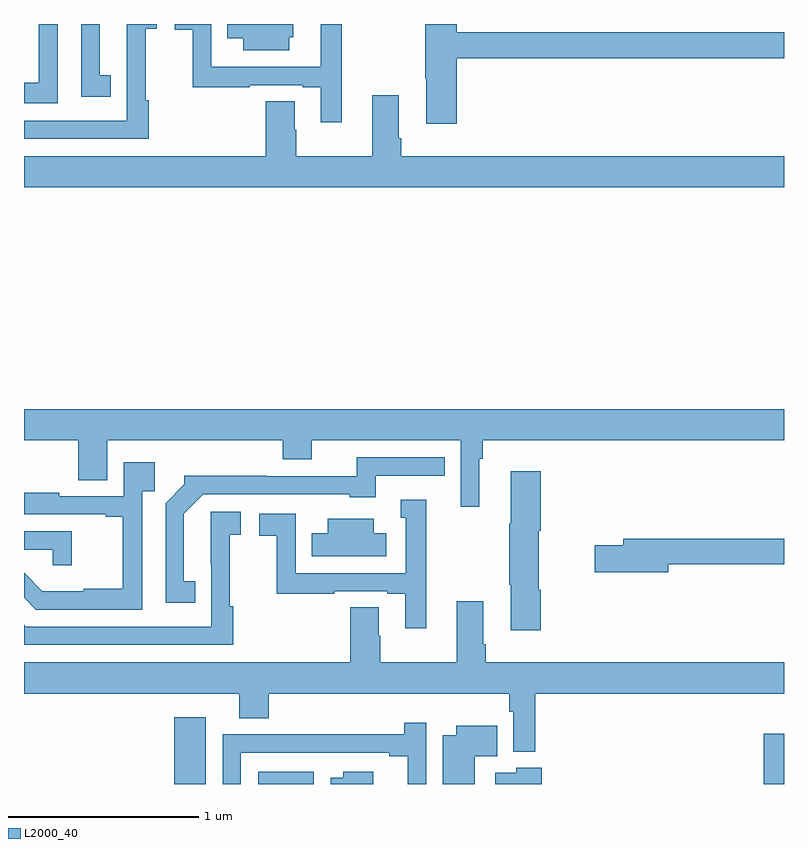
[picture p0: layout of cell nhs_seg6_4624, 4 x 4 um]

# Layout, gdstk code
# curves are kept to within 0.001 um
import gdstk
lib = gdstk.Library(unit=1e-6, precision=1e-09)
def R(c, l, rs):  # rectangles x0, y0, x1, y1
    for r in rs: c.add(gdstk.rectangle(r[:2], r[2:], *l))
def P(c, l, *ps):  # polygons
    for p in ps: c.add(gdstk.Polygon(p, *l))
L2000_40 = (2000, 40)

nhs_seg6_4624 = lib.new_cell('nhs_seg6_4624')
R(nhs_seg6_4624, L2000_40, [(383.792,973.5,383.956,973.852), (384.233,973.5,384.526,973.564), (386.893,973.5,387,973.765)])
P(nhs_seg6_4624, L2000_40, [(384.673,977.5),(384.563,977.5),(384.563,977.274),(383.986,977.274),(383.986,977.275),(383.985,977.275),(383.985,977.5),(383.793,977.5),(383.793,977.47),(383.887,977.47),(383.887,977.166),(384.188,977.166),(384.188,977.178),(384.467,977.178),(384.467,977.166),(384.563,977.166),(384.563,976.983),(384.673,976.983)],
  [(383.657,977.099),(383.64,977.099),(383.64,977.475),(383.698,977.475),(383.698,977.5),(383.54,977.5),(383.54,977.32),(383.541,977.32),(383.541,976.992),(383,976.992),(383,976.896),(383.657,976.896)],
  [(385.277,977.32),(387,977.32),(387,977.456),(385.277,977.456),(385.277,977.5),(385.111,977.5),(385.111,977.212),(385.118,977.212),(385.118,976.974),(385.277,976.974)],
  [(384.397,977.43),(384.418,977.43),(384.418,977.5),(384.07,977.5),(384.07,977.426),(384.155,977.426),(384.155,977.363),(384.397,977.363)],
  [(383.456,977.231),(383.398,977.231),(383.398,977.5),(383.301,977.5),(383.301,977.118),(383.456,977.118)],
  [(383.178,977.5),(383.077,977.5),(383.077,977.191),(383,977.191),(383,977.082),(383.178,977.082)],
  [(387,976.804),(384.986,976.804),(384.986,976.9),(384.973,976.9),(384.973,977.125),(384.833,977.125),(384.833,976.804),(384.432,976.804),(384.432,976.943),(384.424,976.943),(384.424,977.093),(384.272,977.093),(384.272,976.804),(383,976.804),(383,976.64),(387,976.64)],
  [(385.396,975.212),(385.415,975.212),(385.415,975.308),(387,975.308),(387,975.472),(383,975.472),(383,975.308),(383.285,975.308),(383.285,975.1),(383.437,975.1),(383.437,975.308),(384.362,975.308),(384.362,975.209),(384.514,975.209),(384.514,975.308),(385.299,975.308),(385.299,974.958),(385.396,974.958)],
  [(383.9,974.567),(383.842,974.567),(383.842,974.923),(383.943,975.024),(384.714,975.024),(384.714,975.008),(384.85,975.008),(384.85,975.123),(385.214,975.123),(385.214,975.219),(384.751,975.219),(384.751,975.12),(384.278,975.12),(384.278,975.122),(383.844,975.122),(383.844,975.077),(383.745,974.978),(383.745,974.454),(383.9,974.454)],
  [(383.622,975.041),(383.687,975.041),(383.687,975.193),(383.526,975.193),(383.526,975.015),(383.185,975.015),(383.185,975.034),(383,975.034),(383,974.919),(383.429,974.919),(383.429,974.907),(383.521,974.907),(383.521,974.527),(383.315,974.527),(383.315,974.515),(383.096,974.515),(383,974.611),(383,974.479),(383.061,974.418),(383.622,974.418)],
  [(385.721,974.522),(385.708,974.522),(385.708,974.832),(385.721,974.832),(385.721,975.145),(385.562,975.145),(385.562,974.87),(385.555,974.87),(385.555,974.548),(385.562,974.548),(385.562,974.31),(385.721,974.31)],
  [(385.117,974.995),(384.983,974.995),(384.983,974.901),(385.008,974.901),(385.008,974.61),(384.429,974.61),(384.429,974.922),(384.237,974.922),(384.237,974.806),(384.331,974.806),(384.331,974.502),(384.632,974.502),(384.632,974.514),(384.911,974.514),(384.911,974.502),(385.007,974.502),(385.007,974.319),(385.117,974.319)],
  [(384.101,974.435),(384.084,974.435),(384.084,974.811),(384.142,974.811),(384.142,974.932),(383.984,974.932),(383.985,974.328),(383.01,974.328),(383,974.338),(383,974.232),(384.101,974.232)],
  [(384.907,974.821),(384.841,974.821),(384.841,974.896),(384.599,974.896),(384.599,974.821),(384.514,974.821),(384.514,974.699),(384.907,974.699)],
  [(383.252,974.829),(383,974.829),(383,974.733),(383.151,974.733),(383.151,974.652),(383.252,974.652)],
  [(386.392,974.656),(387,974.656),(387,974.792),(386.153,974.792),(386.153,974.756),(386.004,974.756),(386.004,974.614),(386.392,974.614)],
  [(385.691,973.976),(387,973.976),(387,974.14),(385.43,974.14),(385.43,974.236),(385.417,974.236),(385.417,974.461),(385.277,974.461),(385.277,974.14),(384.876,974.14),(384.876,974.279),(384.868,974.279),(384.868,974.429),(384.716,974.429),(384.716,974.14),(383,974.14),(383,973.976),(384.134,973.976),(384.134,973.846),(384.287,973.846),(384.287,973.976),(385.555,973.976),(385.555,973.88),(385.575,973.88),(385.575,973.67),(385.691,973.67)],
  [(384.141,973.665),(384.923,973.665),(384.923,973.645),(385.019,973.645),(385.019,973.5),(385.116,973.5),(385.116,973.822),(385,973.822),(385,973.763),(384.37,973.763),(384.37,973.761),(384.045,973.761),(384.045,973.5),(384.141,973.5)],
  [(385.372,973.646),(385.49,973.646),(385.49,973.807),(385.274,973.807),(385.274,973.756),(385.205,973.756),(385.205,973.5),(385.372,973.5)],
  [(385.724,973.585),(385.59,973.585),(385.59,973.558),(385.481,973.558),(385.481,973.5),(385.724,973.5)],
  [(384.838,973.564),(384.68,973.564),(384.68,973.534),(384.614,973.534),(384.614,973.5),(384.838,973.5)])

lib.write_gds('nhs_seg6_4624.gds')
